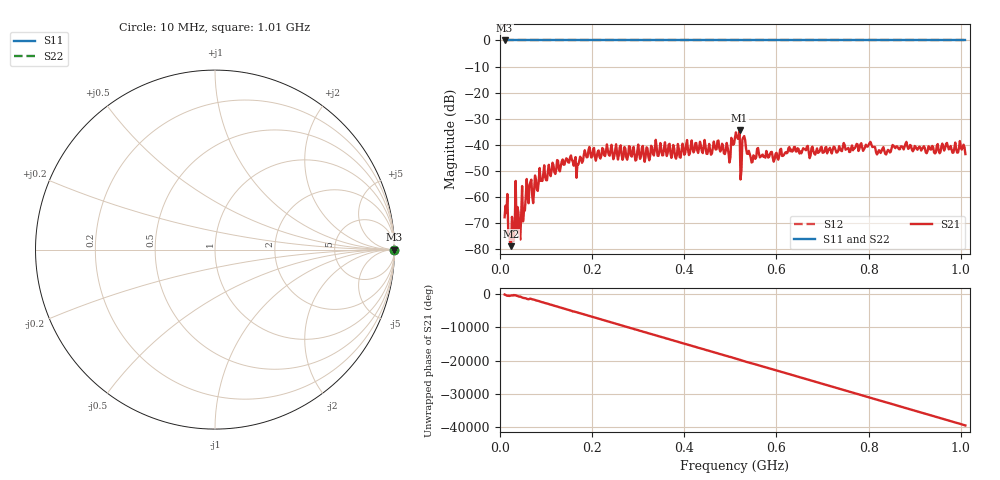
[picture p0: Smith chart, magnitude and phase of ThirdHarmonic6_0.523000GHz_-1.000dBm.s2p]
! 8/15/2025 4:09:24 PM
! C:\ANRITSUVNA\TEMP\TEMP.S2P
! CHANNEL.1
! TR.MEASUREMENT
! RAW.DATA
! RF.CORRECTION.OFF
! AVERAGING.OFF
! IF.BANDWIDTH: 5KHZ
! SWEEPTYPE:  FREQ.SWEEP(Linear)
! Reference Plane Port Info
! PORT:  PORT1  PORT2
! DISTANCE:  0  m  0  m
! TIME:  0  s  0  s
! PHASE.OFFSET:  0  deg.  0  deg.
! LOSS:  0  dB  0  dB
! REF.LOSS:  0  dB  0  dB
! REF.FREQ:  0  Hz  0  Hz
! Power Info
! POWER:  -20  dBm  -20  dBm
! EFF.POWER:  -20  dBm  -20  dBm
! SOURCE.ATTEN:  0  dB  0  dB
! TEST.ATTEN:  0  dB  0  dB
# GHZ S RI R 50.0
! FREQ.GHZ  S11RE  S11IM  S21RE  S21IM  S12RE  S12IM  S22RE  S22IM
!; PortSelection: Port_12
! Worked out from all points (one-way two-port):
!   501 points, 10 MHz to 1.01 GHz, reference 50 ohm
!   highest |S21| = -34.43 dB at 520 MHz (marker M1); lowest = -78.9 dB at 24 MHz (marker M2)
!   lowest |S11| = 0.0 dB at 10 MHz (marker M3)
!   |S11| at or under -10 dB: nowhere
!   |S22| runs from 0.0 to 0.0 dB; largest |S21 - S12| = 1
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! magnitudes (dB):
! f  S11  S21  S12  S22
! 10 MHz  0.0  -67.8  0.0  0.0
! 12 MHz  0.0  -63.4  0.0  0.0
! 24 MHz  0.0  -78.9  0.0  0.0
! 36 MHz  0.0  -72.7  0.0  0.0
! 40 MHz  0.0  -65.8  0.0  0.0
! 46 MHz  0.0  -66.7  0.0  0.0
! 62 MHz  0.0  -62.4  0.0  0.0
! 140 MHz  0.0  -47.6  0.0  0.0
! 178 MHz  0.0  -46.9  0.0  0.0
! 344 MHz  0.0  -44.3  0.0  0.0
! 470 MHz  0.0  -41.7  0.0  0.0
! 496 MHz  0.0  -43.3  0.0  0.0
! 510 MHz  0.0  -37.2  0.0  0.0
! 516 MHz  0.0  -37.7  0.0  0.0
! 520 MHz  0.0  -34.4  0.0  0.0
! 526 MHz  0.0  -37.9  0.0  0.0
! 530 MHz  0.0  -36.7  0.0  0.0
! 550 MHz  0.0  -44.0  0.0  0.0
! 678 MHz  0.0  -40.7  0.0  0.0
! 802 MHz  0.0  -39.3  0.0  0.0
! 844 MHz  0.0  -42.2  0.0  0.0
! 1.01 GHz  0.0  -43.6  0.0  0.0
